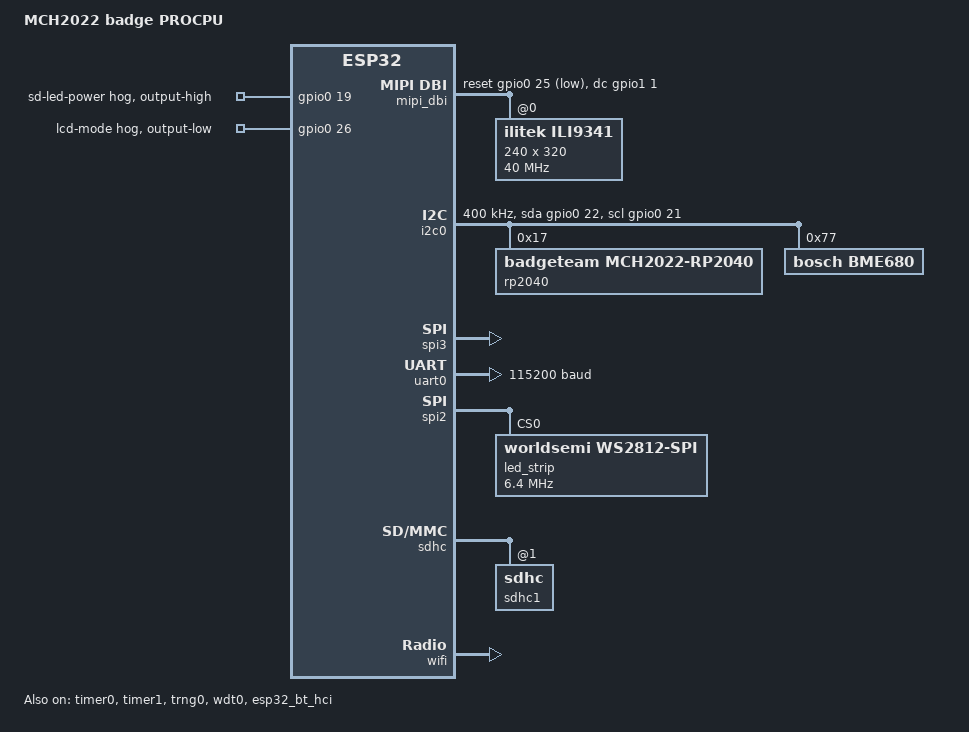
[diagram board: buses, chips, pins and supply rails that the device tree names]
/*
 * SPDX-FileCopyrightText: Copyright The Zephyr Project Contributors
 * SPDX-License-Identifier: Apache-2.0
 */

/dts-v1/;

#include <espressif/esp32/esp32.dtsi>
#include "mch2022-pinctrl.dtsi"
#include <espressif/partitions_0x1000_amp_16M.dtsi>
#include <zephyr/dt-bindings/display/panel.h>
#include <zephyr/dt-bindings/input/input-event-codes.h>
#include <zephyr/dt-bindings/led/led.h>
#include <zephyr/dt-bindings/lvgl/lvgl.h>

/ {
	model = "MCH2022 badge PROCPU";
	compatible = "espressif,esp32";

	aliases {
		i2c-0 = &i2c0;
		led-strip = &led_strip;
		sdhc0 = &sdhc1;
		uart-0 = &uart0;
		watchdog0 = &wdt0;
	};

	chosen {
		zephyr,sram = &sram1;
		zephyr,console = &uart0;
		zephyr,shell-uart = &uart0;
		zephyr,flash = &flash0;
		zephyr,code-partition = &slot0_partition;
		zephyr,bt-hci = &esp32_bt_hci;
		zephyr,display = &ili9341;
	};

	lvgl_keypad: lvgl-keypad {
		compatible = "zephyr,lvgl-keypad-input";
		input = <&buttons>;
		input-codes = <INPUT_KEY_UP INPUT_KEY_DOWN INPUT_KEY_LEFT INPUT_KEY_RIGHT
			       INPUT_KEY_ENTER INPUT_BTN_THUMBL INPUT_KEY_BACK INPUT_KEY_HOME>;
		lvgl-codes = <LV_KEY_UP LV_KEY_DOWN LV_KEY_LEFT LV_KEY_RIGHT
			      LV_KEY_ENTER LV_KEY_ENTER LV_KEY_ESC LV_KEY_HOME>;
	};

	mipi_dbi {
		compatible = "zephyr,mipi-dbi-spi";
		spi-dev = <&spi3>;
		dc-gpios = <&gpio1 1 GPIO_ACTIVE_HIGH>;		/* GPIO33 */
		reset-gpios = <&gpio0 25 GPIO_ACTIVE_LOW>;
		write-only;
		#address-cells = <1>;
		#size-cells = <0>;

		/* 2.4 inch 240x320 panel, turned to 320x240; init values of the badge firmware */
		ili9341: ili9341@0 {
			compatible = "ilitek,ili9341";
			reg = <0>;
			mipi-max-frequency = <DT_FREQ_M(40)>;
			pixel-format = <PANEL_PIXEL_FORMAT_RGB_565X>;
			width = <240>;
			height = <320>;
			rotation = <90>;
			h-mirror;
			pwctrlb = [00 c1 30];
			pwseqctrl = [64 03 12 81];
			timctrla = [85 00 78];
			pumpratioctrl = [20];
			pwctrl1 = [23];
			vmctrl1 = [3e 28];
			vmctrl2 = [86];
			frmctr1 = [00 18];
			disctrl = [08 82 27 00];
			enable3g = [00];
			pgamctrl = [0f 31 2b 0c 0e 08 4e f1 37 07 10 03 0e 09 00];
			ngamctrl = [00 0e 14 03 11 07 31 c1 48 08 0f 0c 31 36 0f];
		};
	};
};

&flash0 {
	reg = <0x0 DT_SIZE_M(16)>;
	ranges = <0x0 0x0 DT_SIZE_M(16)>;
};

&psram0 {
	size = <DT_SIZE_M(8)>;
};

&gpio0 {
	gpio-reserved-ranges = <6 6>, <16 2>, <20 1>, <24 1>, <28 4>;
	status = "okay";

	/* SD card and LED supply */
	power_enable {
		gpio-hog;
		gpios = <19 GPIO_ACTIVE_HIGH>;
		output-high;
		line-name = "sd-led-power";
	};

	/* Low: the LCD on the ESP32's SPI bus; high: on the FPGA's parallel bus */
	lcd_mode {
		gpio-hog;
		gpios = <26 GPIO_ACTIVE_HIGH>;
		output-low;
		line-name = "lcd-mode";
	};
};

&gpio1 {
	gpio-reserved-ranges = <5 2>;
	status = "okay";
};

/* RP2040, BNO055 (0x28), BME680, SAO and Qwiic connectors */
&i2c0 {
	status = "okay";
	clock-frequency = <I2C_BITRATE_FAST>;
	sda-gpios = <&gpio0 22 GPIO_OPEN_DRAIN>;
	scl-gpios = <&gpio0 21 GPIO_OPEN_DRAIN>;
	pinctrl-0 = <&i2c0_default>;
	pinctrl-names = "default";

	rp2040: coprocessor@17 {
		compatible = "badgeteam,mch2022-rp2040";
		reg = <0x17>;

		buttons: buttons {
			compatible = "badgeteam,mch2022-rp2040-input";
			int-gpios = <&gpio1 2 GPIO_ACTIVE_LOW>;		/* GPIO34 */
			zephyr,codes = <INPUT_KEY_HOME INPUT_KEY_MENU INPUT_BTN_START
					INPUT_KEY_ENTER INPUT_KEY_BACK INPUT_BTN_SELECT
					INPUT_KEY_LEFT INPUT_BTN_THUMBL INPUT_KEY_DOWN
					INPUT_KEY_UP INPUT_KEY_RIGHT>;
		};

		backlight: backlight {
			compatible = "badgeteam,mch2022-rp2040-backlight";
		};
	};

	bme680: bme680@77 {
		compatible = "bosch,bme680";
		reg = <0x77>;
	};
};

/*
 * LCD (CS GPIO32) and FPGA (CS GPIO27, not described). Through the GPIO matrix, full duplex
 * stops at 26.7 MHz; half duplex runs the LCD at 40 MHz.
 */
&spi3 {
	#address-cells = <1>;
	#size-cells = <0>;
	status = "okay";
	pinctrl-0 = <&spim3_default>;
	pinctrl-names = "default";
	cs-gpios = <&gpio1 0 GPIO_ACTIVE_LOW>;
	half-duplex;
	dma-enabled;
};

/* Through the RP2040 to its first USB serial port */
&uart0 {
	status = "okay";
	current-speed = <115200>;
	pinctrl-0 = <&uart0_default>;
	pinctrl-names = "default";
};

/* SK6805 LEDs on MOSI (GPIO5), through a buffer */
&spi2 {
	#address-cells = <1>;
	#size-cells = <0>;
	status = "okay";
	line-idle-low;
	pinctrl-0 = <&spim2_led_strip>;
	pinctrl-names = "default";

	led_strip: ws2812@0 {
		compatible = "worldsemi,ws2812-spi";
		reg = <0>;
		spi-max-frequency = <6400000>;
		spi-one-frame = <0xf0>;		/* 625 ns high, 625 ns low */
		spi-zero-frame = <0xc0>;	/* 312.5 ns high, 937.5 ns low */
		chain-length = <5>;
		reset-delay = <80>;
		color-mapping = <LED_COLOR_ID_GREEN
				 LED_COLOR_ID_RED
				 LED_COLOR_ID_BLUE>;
	};
};

/* Slot 1 in 1-bit mode; no card detect */
&sdhc {
	sdhc1: sdhc@1 {
		status = "okay";
		bus-width = <1>;
		max-bus-freq = <20000000>;
		power-delay-ms = <100>;
		clk-pin = <14>;
		cmd-pin = <15>;
		d0-pin = <2>;

		mmc {
			compatible = "zephyr,sdmmc-disk";
			disk-name = "SD";
			status = "okay";
		};
	};
};

&timer0 {
	status = "okay";
};

&timer1 {
	status = "okay";
};

&trng0 {
	status = "okay";
};

&wdt0 {
	status = "okay";
};

&esp32_bt_hci {
	status = "okay";
};

&wifi {
	status = "okay";
};
